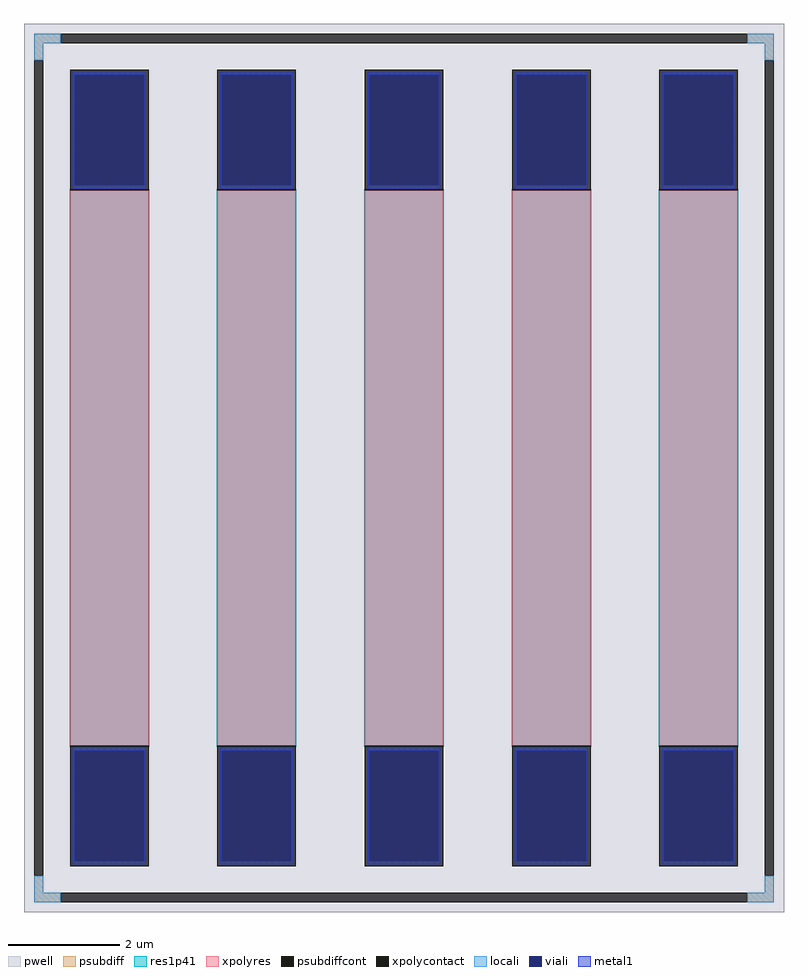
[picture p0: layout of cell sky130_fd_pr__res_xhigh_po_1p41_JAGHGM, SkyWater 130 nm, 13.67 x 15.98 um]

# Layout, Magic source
magic
tech sky130A
magscale 1 2
<< pwell >>
rect -1367 -1598 1367 1598
<< psubdiff >>
rect -1331 1528 -1235 1562
rect 1235 1528 1331 1562
rect -1331 1466 -1297 1528
rect 1297 1466 1331 1528
rect -1331 -1528 -1297 -1466
rect 1297 -1528 1331 -1466
rect -1331 -1562 -1235 -1528
rect 1235 -1562 1331 -1528
<< psubdiffcont >>
rect -1235 1528 1235 1562
rect -1331 -1466 -1297 1466
rect 1297 -1466 1331 1466
rect -1235 -1562 1235 -1528
<< xpolycontact >>
rect -1201 1000 -919 1432
rect -1201 -1432 -919 -1000
rect -671 1000 -389 1432
rect -671 -1432 -389 -1000
rect -141 1000 141 1432
rect -141 -1432 141 -1000
rect 389 1000 671 1432
rect 389 -1432 671 -1000
rect 919 1000 1201 1432
rect 919 -1432 1201 -1000
<< xpolyres >>
rect -1201 -1000 -919 1000
rect -671 -1000 -389 1000
rect -141 -1000 141 1000
rect 389 -1000 671 1000
rect 919 -1000 1201 1000
<< locali >>
rect -1331 1528 -1235 1562
rect 1235 1528 1331 1562
rect -1331 1466 -1297 1528
rect 1297 1466 1331 1528
rect -1331 -1528 -1297 -1466
rect 1297 -1528 1331 -1466
rect -1331 -1562 -1235 -1528
rect 1235 -1562 1331 -1528
<< viali >>
rect -1185 1017 -935 1414
rect -655 1017 -405 1414
rect -125 1017 125 1414
rect 405 1017 655 1414
rect 935 1017 1185 1414
rect -1185 -1414 -935 -1017
rect -655 -1414 -405 -1017
rect -125 -1414 125 -1017
rect 405 -1414 655 -1017
rect 935 -1414 1185 -1017
<< metal1 >>
rect -1191 1414 -929 1426
rect -1191 1017 -1185 1414
rect -935 1017 -929 1414
rect -1191 1005 -929 1017
rect -661 1414 -399 1426
rect -661 1017 -655 1414
rect -405 1017 -399 1414
rect -661 1005 -399 1017
rect -131 1414 131 1426
rect -131 1017 -125 1414
rect 125 1017 131 1414
rect -131 1005 131 1017
rect 399 1414 661 1426
rect 399 1017 405 1414
rect 655 1017 661 1414
rect 399 1005 661 1017
rect 929 1414 1191 1426
rect 929 1017 935 1414
rect 1185 1017 1191 1414
rect 929 1005 1191 1017
rect -1191 -1017 -929 -1005
rect -1191 -1414 -1185 -1017
rect -935 -1414 -929 -1017
rect -1191 -1426 -929 -1414
rect -661 -1017 -399 -1005
rect -661 -1414 -655 -1017
rect -405 -1414 -399 -1017
rect -661 -1426 -399 -1414
rect -131 -1017 131 -1005
rect -131 -1414 -125 -1017
rect 125 -1414 131 -1017
rect -131 -1426 131 -1414
rect 399 -1017 661 -1005
rect 399 -1414 405 -1017
rect 655 -1414 661 -1017
rect 399 -1426 661 -1414
rect 929 -1017 1191 -1005
rect 929 -1414 935 -1017
rect 1185 -1414 1191 -1017
rect 929 -1426 1191 -1414
<< res1p41 >>
rect -1203 -1002 -917 1002
rect -673 -1002 -387 1002
rect -143 -1002 143 1002
rect 387 -1002 673 1002
rect 917 -1002 1203 1002
<< properties >>
string FIXED_BBOX -1314 -1545 1314 1545
string gencell sky130_fd_pr__res_xhigh_po_1p41
string library sky130
string parameters w 1.410 l 10 m 1 nx 5 wmin 1.410 lmin 0.50 rho 2000 val 14.451k dummy 0 dw 0.0 term 188.2 sterm 0.0 caplen 0 wmax 1.410 guard 1 glc 1 grc 1 gtc 1 gbc 1 compatible {sky130_fd_pr__res_xhigh_po_0p35  sky130_fd_pr__res_xhigh_po_0p69 sky130_fd_pr__res_xhigh_po_1p41  sky130_fd_pr__res_xhigh_po_2p85 sky130_fd_pr__res_xhigh_po_5p73} full_metal 1 n_guard 0 hv_guard 0 vias 1 viagb 0 viagt 0 viagl 0 viagr 0
<< end >>
